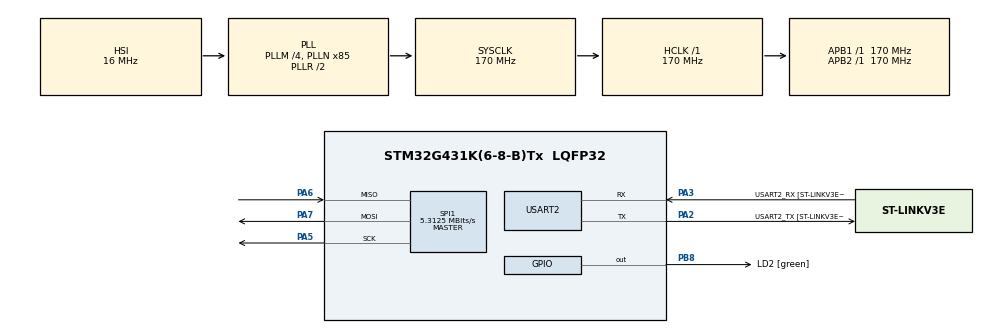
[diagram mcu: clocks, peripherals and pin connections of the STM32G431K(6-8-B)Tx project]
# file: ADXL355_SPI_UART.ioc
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Mcu.Family=STM32G4
Mcu.Name=STM32G431K(6-8-B)Tx
Mcu.Package=LQFP32
NVIC.PriorityGroup=NVIC_PRIORITYGROUP_4
PA13.GPIO_Label=T_SWDIO
PA13.Mode=Serial_Wire
PA13.Signal=SYS_JTMS-SWDIO
PA14.GPIO_Label=T_SWCLK
PA14.Mode=Serial_Wire
PA14.Signal=SYS_JTCK-SWCLK
PA2.GPIO_Label=USART2_TX [ST-LINKV3E_VCP_RX]
PA2.Mode=Asynchronous
PA2.Signal=USART2_TX
PA3.GPIO_Label=USART2_RX [ST-LINKV3E_VCP_TX]
PA3.Mode=Asynchronous
PA3.Signal=USART2_RX
PA5.Mode=Full_Duplex_Master
PA5.Signal=SPI1_SCK
PA6.Mode=Full_Duplex_Master
PA6.Signal=SPI1_MISO
PA7.Mode=Full_Duplex_Master
PA7.Signal=SPI1_MOSI
PB3.GPIO_Label=T_SWO
PB3.Signal=SYS_JTDO-SWO
PB8-BOOT0.GPIO_Label=LD2 [green]
PB8-BOOT0.Signal=GPIO_Output
ProjectManager.HeapSize=0x200
ProjectManager.StackSize=0x400
ProjectManager.TargetToolchain=STM32CubeIDE
RCC.ADC12Freq_Value=170000000
RCC.AHBFreq_Value=170000000
RCC.APB1Freq_Value=170000000
RCC.APB1TimFreq_Value=170000000
RCC.APB2Freq_Value=170000000
RCC.APB2TimFreq_Value=170000000
RCC.CortexFreq_Value=170000000
RCC.EXTERNAL_CLOCK_VALUE=12288000
RCC.HCLKFreq_Value=170000000
RCC.HSE_VALUE=8000000
RCC.HSI48_VALUE=48000000
RCC.HSI_VALUE=16000000
RCC.LSE_VALUE=32768
RCC.PLLM=RCC_PLLM_DIV4
RCC.PLLN=85
RCC.SYSCLKFreq_VALUE=170000000
RCC.SYSCLKSource=RCC_SYSCLKSOURCE_PLLCLK
RCC.USBFreq_Value=170000000
RCC.VCOOutputFreq_Value=340000000
SPI1.BaudRatePrescaler=SPI_BAUDRATEPRESCALER_32
SPI1.CalculateBaudRate=5.3125 MBits/s
SPI1.DataSize=SPI_DATASIZE_8BIT
SPI1.Direction=SPI_DIRECTION_2LINES
SPI1.Mode=SPI_MODE_MASTER
SPI1.VirtualType=VM_MASTER
USART2.VirtualMode-Asynchronous=VM_ASYNC
USART2.WordLength=WORDLENGTH_8B
VP_SYS_VS_DBSignals.Mode=DisableDeadBatterySignals
board=NUCLEO-G431KB

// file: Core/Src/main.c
/* USER CODE BEGIN Header */
/**
  ******************************************************************************
  * @file           : main.c
  * @brief          : Main program body
  ******************************************************************************
  * @attention
  *
  * Copyright (c) 2022 STMicroelectronics.
  * All rights reserved.
  *
  * This software is licensed under terms that can be found in the LICENSE file
  * in the root directory of this software component.
  * If no LICENSE file comes with this software, it is provided AS-IS.
  *
  ******************************************************************************
  */
/* USER CODE END Header */
#include "main.h"

 SPI_HandleTypeDef hspi1;

UART_HandleTypeDef huart2;

void SystemClock_Config(void);
static void MX_GPIO_Init(void);
static void MX_SPI1_Init(void);
static void MX_USART2_UART_Init(void);

/* USER CODE BEGIN 0 */
#ifdef __GNUC__
#define PUTCHAR_PROTOTYPE int __io_putchar(int ch)
#else
#define PUTCHAR_PROTOTYPE int fputc(int ch, FILE *f)
#endif /* __GNUC__ */

#define adxl355Scale 256000.0f

typedef enum {
   SPI_WRITE_ONE_REG = 1,         /* Write 1 ACC register */
   SPI_WRITE_TWO_REG,             /* Write 2 ACC register */
   UART_WRITE_NO_INT,             /* Write data when interrupts are disabled */
   UART_WRITE_IN_INT,             /* Write data while in an interrupt routine */
   UART_WRITE
} enWriteData;

typedef enum {
   SPI_READ_ONE_REG = 1,            /* Read one ACC register */
   SPI_READ_TWO_REG,                /* Read two ACC registers */
   SPI_READ_THREE_REG,              /* Read X,Y,Z ACC registers */

} enRegsNum;

#define ADXL355_WRITE 0x0
#define ADXL355_READ 0x1
#define POWER_CTL 0x2D

#define XDATA3 0x08
#define YDATA3 0x0B
#define ZDATA3 0x0E

#define RANGE 0x2C

#define SCALE 256000.0f

uint8_t data_tx[2];

SPI_HandleTypeDef hspi1;

UART_HandleTypeDef huart2;

void SystemClock_Config(void);
static void MX_GPIO_Init(void);
static void MX_SPI1_Init(void);
static void MX_USART2_UART_Init(void);

char segCode[11][8] = {
//  a  b  c  d  e  f  g  .
  { 1, 1, 1, 1, 1, 1, 0, 0},  // 0
  { 0, 1, 1, 0, 0, 0, 0, 0},  // 1
  { 1, 1, 0, 1, 1, 0, 1, 0},  // 2
  { 1, 1, 1, 1, 0, 0, 1, 0},  // 3
  { 0, 1, 1, 0, 0, 1, 1, 0},  // 4
  { 1, 0, 1, 1, 0, 1, 1, 0},  // 5
  { 1, 0, 1, 1, 1, 1, 1, 0},  // 6
  { 1, 1, 1, 0, 0, 0, 0, 0},  // 7
  { 1, 1, 1, 1, 1, 1, 1, 0},  // 8
  { 1, 1, 1, 1, 0, 1, 1, 0},  // 9
  { 0, 0, 0, 0, 0, 0, 0, 1}   // .
};

void set7SegOutput(int value){
	//if(0 <= value && value <= 9){
		int outputs = 0;
		for(int i = 0; i < 7; i++){
			outputs |= segCode[value%10][i] << i;
		}
		int actualOuputs = ((outputs & (1 << 6)) << 4) | ((outputs & ( 1 << 5)) << 4 )|
						   ((outputs & (1 << 4)) << 4 )| ((outputs & (1 << 3)) << 1 )| (outputs & 0x7);
		GPIOA->ODR &= ~(1 << 0 | 1 << 1 | 1 << 2 | 1 << 4 | 1 << 8 | 1 << 9 | 1 << 10);
		GPIOA->ODR |= actualOuputs;
		// GPIOA->ODR |= 0x7 | 1 << 4 | 1 << 8 | 1 << 9 | 1 << 10;
	//}
}

void selectAccelerometer(){
	GPIOA->ODR &= ~(1 << 11);
}
void deselectAccelerometer(){
	GPIOA->ODR |= 1 << 11;
}

void setAccelMeasurementRange(){

}
void SPI_Write(uint8_t ui8address, uint8_t ui8Data, uint8_t ui8Data2, enWriteData enMode)
{
   uint8_t ui8writeAddress;
   ui8writeAddress = ((ui8address <<1)|ADXL355_WRITE);

   if(enMode == SPI_WRITE_ONE_REG) {
      selectAccelerometer();        /* Select accelerometer */

      // SpiFifoFlush(pADI_SPI0, SPICON_TFLUSH_EN, SPICON_RFLUSH_EN);      /* Flush Tx and Rx FIFOs */
      data_tx[0] = ui8writeAddress;
      data_tx[1] = ui8Data;
      HAL_SPI_Transmit(&hspi1, &ui8writeAddress, 1, 1000);     /* Send register address */

      HAL_SPI_Transmit(&hspi1, &ui8Data, 1, 1000);             /* Send value to be written */
      HAL_Delay(500);
      // while (!(SPI1->SR & SPI_SR_RXNE)); // Wait while receive buffer is empty
      // while ((SpiSta(pADI_SPI0) & SPI0STA_RXFSTA_TWOBYTES) != SPI0STA_RXFSTA_TWOBYTES);        /* Wait until 2  bytes are received */ --- 2 ou 3??
      HAL_SPI_Receive(&hspi1, (uint8_t*)NULL, 2, 1000);

      deselectAccelerometer();         /* Deselect accelerometer */
   }

}

uint32_t SPI_Read(uint8_t ui8address, enRegsNum enRegs)
{

   uint32_t ui32Result = 0;

   uint8_t ui32valueL = 0;
   uint8_t ui32valueM __attribute__((unused)) = 0;
   uint8_t ui32valueH = 0;

   uint8_t testingSomething[3];
   uint8_t ui8writeAddress;
   ui8writeAddress = ((ui8address <<1)|ADXL355_READ);

   selectAccelerometer();      /* Select accelerometer */

   // SpiFifoFlush(pADI_SPI0, SPICON_TFLUSH_EN, SPICON_RFLUSH_EN);       /* Flush Tx and Rx FIFOs */

   HAL_SPI_Transmit(&hspi1, &ui8writeAddress, 1, 1000);       /* Send register address */

   // uint8_t dummyInfo = 0xAA;
   // HAL_SPI_Transmit(&hspi1, &dummyInfo, 1, 100);               /* Send a dummy byte in order to receive the register value */

   if (enRegs == SPI_READ_ONE_REG) {

	  // HAL_SPI_Receive(&hspi1, (uint8_t*)NULL, 2, 100);    /* Wait until 2 bytes are received */

      ui32valueL = HAL_SPI_Receive(&hspi1, (uint8_t*)NULL, 1, 100);;            /* One dummy read */

      ui32Result = HAL_SPI_Receive(&hspi1, (uint8_t*)NULL, 1, 100);;            /* Set read result*/

   }
   if (enRegs == SPI_READ_TWO_REG) {          /* Only used for Temp & X,Y,Z offset and threshold registers*/

	  // HAL_SPI_Transmit(&hspi1, &dummyInfo, 1, 100);                /* Send a dummy byte in order to receive the register value */

	  // HAL_SPI_Receive(&hspi1, (uint8_t*)NULL, 3, 100);    /* Wait until 3 bytes are received */

      HAL_SPI_Receive(&hspi1, &ui32valueL, 1, 100);             /* One dummy read */

      HAL_SPI_Receive(&hspi1, &ui32valueH, 1, 100);         /* Read the register value */
      HAL_SPI_Receive(&hspi1, &ui32valueL, 1, 100);

      ui32Result = ((ui32valueH << 8) | ui32valueL); /* Set read result*/

   }
   if (enRegs == SPI_READ_THREE_REG) {          /* Only used for X,Y,Z axis data registers*/

	  // HAL_SPI_Transmit(&hspi1, &dummyInfo, 1, 100);               /* Send a dummy byte in order to receive the register value */
	  // HAL_SPI_Transmit(&hspi1, &dummyInfo, 1, 100);               /* Send a dummy byte in order to receive the register value */

	  // HAL_SPI_Receive(&hspi1, (uint8_t*)NULL, 4, 100);		      /* Wait until 4 bytes are received */

       // HAL_SPI_Receive(&hspi1, &ui32valueL, 1, 1000);             /* One dummy read */
	   // while (!(SPI1->SR & SPI_SR_RXNE)); // Wait while receive buffer is empty

       HAL_SPI_Receive(&hspi1, &ui32valueH, 1, 1000);             /* Read the register value */
       HAL_SPI_Receive(&hspi1, &ui32valueM, 1, 1000);
       HAL_SPI_Receive(&hspi1, &ui32valueL, 1, 1000);
      // HAL_SPI_Receive(&hspi1, testingSomething, 3, 100);

      ui32Result = ((ui32valueH << 16) | (ui32valueM << 8) | ui32valueL); /* Set read result*/

   }
   HAL_Delay(500);
   deselectAccelerometer();          /* Deselect accelerometer */

   return ui32Result;
}

void ADXL355_Start_Sensor(void)
{
   // SPI_Write(RANGE, 0x81, 0x00, SPI_WRITE_ONE_REG);
	SPI_Write(RANGE, 0x01, 0x00, SPI_WRITE_ONE_REG);

   // uint8_t ui8temp;

   // ui8temp = (uint8_t)SPI_Read(POWER_CTL, SPI_READ_ONE_REG);       /* Read POWER_CTL register, before modifying it */

   // ui8temp = ui8temp & 0xFE;                                          /* Set measurement bit in POWER_CTL register */

   SPI_Write(POWER_CTL, 0x06, 0x00, SPI_WRITE_ONE_REG);                    /* Write the new value to POWER_CTL register */
}

int32_t ADXL355_Acceleration_Data_Conversion (uint32_t ui32SensorData)
{
   int32_t volatile i32Conversion = 0;

   ui32SensorData = (ui32SensorData  >> 4);
   ui32SensorData = (ui32SensorData & 0x000FFFFF);

   if((ui32SensorData & 0x00080000)  == 0x00080000){

         i32Conversion = (ui32SensorData | 0xFFF00000);

   }
   else{
         i32Conversion = ui32SensorData;
   }

   return i32Conversion;
}
/* USER CODE END 0 */

int main(void)
{

  /* MCU Configuration--------------------------------------------------------*/

  /* Reset of all peripherals, Initializes the Flash interface and the Systick. */
  HAL_Init();

  /* Configure the system clock */
  SystemClock_Config();

  /* Initialize all configured peripherals */
  MX_GPIO_Init();
  MX_SPI1_Init();
  MX_USART2_UART_Init();
  /* USER CODE BEGIN 2 */
  RCC->AHB2ENR |= 1 << 0; // Enable clock
  GPIOA->MODER |=  1 << 22;
  GPIOA->MODER &= ~(1 << (22 + 1));
  GPIOA->OTYPER &= ~(1 << 11);
  /* USER CODE END 2 */

  /* Infinite loop */
  /* USER CODE BEGIN WHILE */
  HAL_Delay(1000);
  ADXL355_Start_Sensor();

  // where we store the measurements
  uint32_t volatile ui32SensorX = 0;
  uint32_t volatile ui32SensorY = 0;
  uint32_t volatile ui32SensorZ = 0;

  while (1)
  {
    /* USER CODE END WHILE */
	//for(int i = 0; i < 500000; i++);
	// GPIOA->ODR ^= 1 << 4;
	// GPIOB->ODR ^= 1 << 4;
	// set7SegOutput(count);

	HAL_Delay(100);

    ui32SensorX = SPI_Read(XDATA3, SPI_READ_THREE_REG);
    ui32SensorY = SPI_Read(YDATA3, SPI_READ_THREE_REG);
    ui32SensorZ = SPI_Read(ZDATA3, SPI_READ_THREE_REG);

    uint32_t resultX = ADXL355_Acceleration_Data_Conversion(0);
    uint32_t resultY = ADXL355_Acceleration_Data_Conversion(0);
    uint32_t resultZ = ADXL355_Acceleration_Data_Conversion(0);
    printf("------------------\r\n");
    printf("X accel is: %i\r\n", (int)((float)resultX ));
    printf("Y accel is: %i\r\n", (int)((float)resultY ));
    printf("Z accel is: %i\r\n", (int)((float)resultZ ));
    printf("------------------");
    // set7SegOutput(count);
  }
  /* USER CODE END 3 */
}

void SystemClock_Config(void)
{
  RCC_OscInitTypeDef RCC_OscInitStruct = {0};
  RCC_ClkInitTypeDef RCC_ClkInitStruct = {0};

  /** Configure the main internal regulator output voltage
  */
  HAL_PWREx_ControlVoltageScaling(PWR_REGULATOR_VOLTAGE_SCALE1_BOOST);

  /** Initializes the RCC Oscillators according to the specified parameters
  * in the RCC_OscInitTypeDef structure.
  */
  RCC_OscInitStruct.OscillatorType = RCC_OSCILLATORTYPE_HSI;
  RCC_OscInitStruct.HSIState = RCC_HSI_ON;
  RCC_OscInitStruct.HSICalibrationValue = RCC_HSICALIBRATION_DEFAULT;
  RCC_OscInitStruct.PLL.PLLState = RCC_PLL_ON;
  RCC_OscInitStruct.PLL.PLLSource = RCC_PLLSOURCE_HSI;
  RCC_OscInitStruct.PLL.PLLM = RCC_PLLM_DIV4;
  RCC_OscInitStruct.PLL.PLLN = 85;
  RCC_OscInitStruct.PLL.PLLP = RCC_PLLP_DIV2;
  RCC_OscInitStruct.PLL.PLLQ = RCC_PLLQ_DIV2;
  RCC_OscInitStruct.PLL.PLLR = RCC_PLLR_DIV2;
  if (HAL_RCC_OscConfig(&RCC_OscInitStruct) != HAL_OK)
  {
    Error_Handler();
  }

  /** Initializes the CPU, AHB and APB buses clocks
  */
  RCC_ClkInitStruct.ClockType = RCC_CLOCKTYPE_HCLK|RCC_CLOCKTYPE_SYSCLK
                              |RCC_CLOCKTYPE_PCLK1|RCC_CLOCKTYPE_PCLK2;
  RCC_ClkInitStruct.SYSCLKSource = RCC_SYSCLKSOURCE_PLLCLK;
  RCC_ClkInitStruct.AHBCLKDivider = RCC_SYSCLK_DIV1;
  RCC_ClkInitStruct.APB1CLKDivider = RCC_HCLK_DIV1;
  RCC_ClkInitStruct.APB2CLKDivider = RCC_HCLK_DIV1;

  if (HAL_RCC_ClockConfig(&RCC_ClkInitStruct, FLASH_LATENCY_4) != HAL_OK)
  {
    Error_Handler();
  }
}

static void MX_SPI1_Init(void)
{

  /* SPI1 parameter configuration*/
  hspi1.Instance = SPI1;
  hspi1.Init.Mode = SPI_MODE_MASTER;
  hspi1.Init.Direction = SPI_DIRECTION_2LINES;
  hspi1.Init.DataSize = SPI_DATASIZE_8BIT;
  hspi1.Init.CLKPolarity = SPI_POLARITY_LOW;
  hspi1.Init.CLKPhase = SPI_PHASE_1EDGE;
  hspi1.Init.NSS = SPI_NSS_SOFT;
  hspi1.Init.BaudRatePrescaler = SPI_BAUDRATEPRESCALER_32;
  hspi1.Init.FirstBit = SPI_FIRSTBIT_MSB;
  hspi1.Init.TIMode = SPI_TIMODE_DISABLE;
  hspi1.Init.CRCCalculation = SPI_CRCCALCULATION_DISABLE;
  hspi1.Init.CRCPolynomial = 7;
  hspi1.Init.CRCLength = SPI_CRC_LENGTH_DATASIZE;
  hspi1.Init.NSSPMode = SPI_NSS_PULSE_ENABLE;
  if (HAL_SPI_Init(&hspi1) != HAL_OK)
  {
    Error_Handler();
  }

}

static void MX_USART2_UART_Init(void)
{

  huart2.Instance = USART2;
  huart2.Init.BaudRate = 115200;
  huart2.Init.WordLength = UART_WORDLENGTH_8B;
  huart2.Init.StopBits = UART_STOPBITS_1;
  huart2.Init.Parity = UART_PARITY_NONE;
  huart2.Init.Mode = UART_MODE_TX_RX;
  huart2.Init.HwFlowCtl = UART_HWCONTROL_NONE;
  huart2.Init.OverSampling = UART_OVERSAMPLING_16;
  huart2.Init.OneBitSampling = UART_ONE_BIT_SAMPLE_DISABLE;
  huart2.Init.ClockPrescaler = UART_PRESCALER_DIV1;
  huart2.AdvancedInit.AdvFeatureInit = UART_ADVFEATURE_NO_INIT;
  if (HAL_UART_Init(&huart2) != HAL_OK)
  {
    Error_Handler();
  }
  if (HAL_UARTEx_SetTxFifoThreshold(&huart2, UART_TXFIFO_THRESHOLD_1_8) != HAL_OK)
  {
    Error_Handler();
  }
  if (HAL_UARTEx_SetRxFifoThreshold(&huart2, UART_RXFIFO_THRESHOLD_1_8) != HAL_OK)
  {
    Error_Handler();
  }
  if (HAL_UARTEx_DisableFifoMode(&huart2) != HAL_OK)
  {
    Error_Handler();
  }

}

static void MX_GPIO_Init(void)
{
  GPIO_InitTypeDef GPIO_InitStruct = {0};

  /* GPIO Ports Clock Enable */
  __HAL_RCC_GPIOA_CLK_ENABLE();
  __HAL_RCC_GPIOB_CLK_ENABLE();

  /*Configure GPIO pin Output Level */
  HAL_GPIO_WritePin(LD2_GPIO_Port, LD2_Pin, GPIO_PIN_RESET);

  /*Configure GPIO pin : LD2_Pin */
  GPIO_InitStruct.Pin = LD2_Pin;
  GPIO_InitStruct.Mode = GPIO_MODE_OUTPUT_PP;
  GPIO_InitStruct.Pull = GPIO_NOPULL;
  GPIO_InitStruct.Speed = GPIO_SPEED_FREQ_LOW;
  HAL_GPIO_Init(LD2_GPIO_Port, &GPIO_InitStruct);

}

/* USER CODE BEGIN 4 */
/**
* @brief Retargets the C library printf function to the USART.
* @param None
* @retval None
*/
PUTCHAR_PROTOTYPE
{
/* Place your implementation of fputc here */
/* e.g. write a character to the USART2 and Loop until the end
of transmission */
HAL_UART_Transmit(&huart2, (uint8_t *)&ch, 1, 0xFFFF);
return ch;
}

/* USER CODE END 4 */

void Error_Handler(void)
{
  __disable_irq();
  while (1)
  {
  }
}
